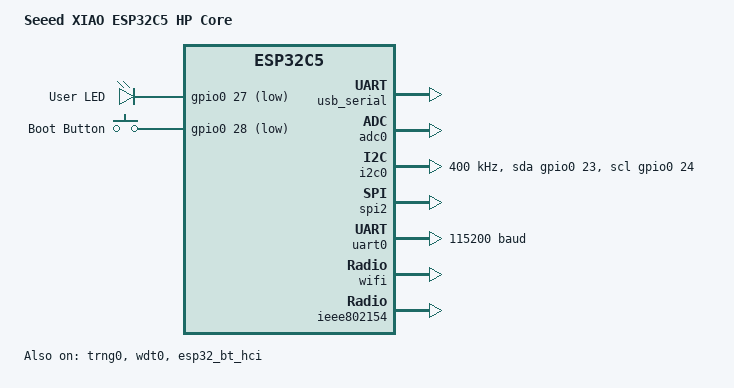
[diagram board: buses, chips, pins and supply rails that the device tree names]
/*
 * SPDX-FileCopyrightText: Copyright The Zephyr Project Contributors
 * SPDX-License-Identifier: Apache-2.0
 *
 * Vendored from upstream Zephyr, with ONE deviation, marked below.
 *
 * Why this board is vendored at all: the upstream port postdates the Zephyr
 * tree this project pins through NCS v3.4.0. Everything it depends on is
 * already in that tree — the esp32c5 SoC, its dtsi, the pinctrl header, the
 * seeed,xiao-gpio binding, and the C5 BLE/WiFi blobs in hal_espressif — so
 * this is a backport of the board file only, not of SoC support.
 *
 * Only the HP core is here. Upstream also ships an LP-core .dts, defconfig and
 * .yaml; this project has no LP-core image, so asking for
 * `xiao_esp32c5/esp32c5/lpcore` fails at devicetree rather than producing
 * something. That is the intended outcome and the reason the files were not
 * copied.
 */

/dts-v1/;

#include <espressif/esp32c5/esp32c5_wroom_n8r4.dtsi>
#include "xiao_esp32c5-pinctrl.dtsi"
#include <zephyr/dt-bindings/input/input-event-codes.h>
#include <espressif/partitions_0x2000_default_8M.dtsi>
#include "seeed_xiao_connector.dtsi"

/*
 * ---- THE DEVIATION ------------------------------------------------------
 *
 * Upstream includes esp32c5_wroom_n8r8.dtsi. The pinned tree has only the
 * N8R4 variant, so we include that and correct the one thing it gets wrong
 * for this module: the PSRAM size. Flash is already 8 MB in both variants.
 *
 * This is not cosmetic. CONFIG_ESP_SPIRAM_SIZE defaults from this property
 * (Kconfig.spiram: `default $(dt_node_int_prop_int,...,size)`), and it in turn
 * picks CONFIG_SPIRAM_TYPE — `SPIRAM_TYPE_ESPPSRAM64` depends on the size
 * being exactly 8388608. Leaving it at 4 MB would configure half the PSRAM on
 * a board whose WiFi and net buffers are deliberately placed there.
 *
 * See Kconfig.xiao_esp32c5 for why the variant symbol cannot simply be added.
 * Delete this block at the same time as that select, never separately.
 */
&psram0 {
	size = <DT_SIZE_M(8)>;
};

/ {
	model = "Seeed XIAO ESP32C5 HP Core";
	compatible = "seeed,xiao-esp32c5";

	chosen {
		zephyr,sram = &sramhp;
		/*
		 * usb_serial is the USB-Serial-JTAG peripheral, not a CDC ACM
		 * class on the USB device stack — so, as on the ESP32-S3, the
		 * console is up before main() and needs nothing arranged. It
		 * also survives a CPU reset without re-enumerating, which is
		 * what lets the browser flasher reset this part into download
		 * mode on a port it is already holding.
		 */
		zephyr,console = &usb_serial;
		zephyr,shell-uart = &usb_serial;
		zephyr,flash = &flash0;
		zephyr,code-partition = &slot0_partition;
		zephyr,ieee802154 = &ieee802154;
	};

	leds: leds {
		compatible = "gpio-leds";

		yellow_led: led_0 {
			gpios = <&gpio0 27 GPIO_ACTIVE_LOW>;
			label = "User LED";
		};
	};

	aliases {
		led0 = &yellow_led;
		watchdog0 = &wdt0;
	};

	gpio_keys {
		compatible = "gpio-keys";

		boot_button: button {
			label = "Boot Button";
			gpios = <&gpio0 28 (GPIO_PULL_UP | GPIO_ACTIVE_LOW)>;
			zephyr,code = <INPUT_KEY_0>;
		};
	};
};

&trng0 {
	status = "okay";
};

&gpio0 {
	status = "okay";
};

&wdt0 {
	status = "okay";
};

&usb_serial {
	status = "okay";
};

&adc0 {
	status = "okay";
};

&i2c0 {
	status = "okay";
	clock-frequency = <I2C_BITRATE_FAST>;
	scl-gpios = <&gpio0 24 GPIO_OPEN_DRAIN>;
	sda-gpios = <&gpio0 23 GPIO_OPEN_DRAIN>;
	pinctrl-0 = <&i2c0_default>;
	pinctrl-names = "default";
};

&spi2 {
	#address-cells = <1>;
	#size-cells = <0>;
	status = "okay";
	pinctrl-0 = <&spim2_default>;
	pinctrl-names = "default";
};

&uart0 {
	status = "okay";
	current-speed = <115200>;
	pinctrl-0 = <&uart0_default>;
	pinctrl-names = "default";
};

&wifi {
	status = "okay";
};

&ieee802154 {
	status = "okay";
};

&esp32_bt_hci {
	status = "okay";
};
